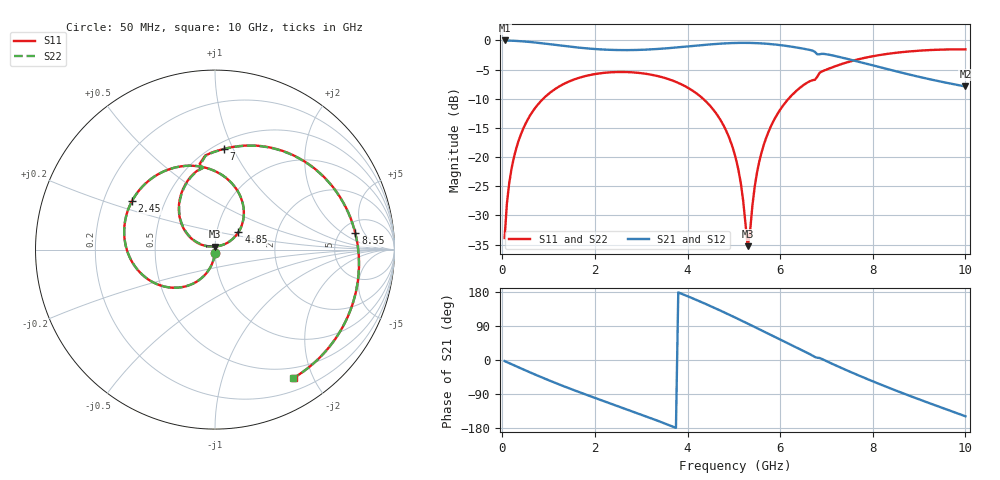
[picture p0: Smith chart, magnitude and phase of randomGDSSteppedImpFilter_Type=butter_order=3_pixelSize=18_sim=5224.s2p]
! freq	dB(S11)	phase(S11)	dB(S12)	phase(S12)
!  dB(S21)	phase(S21)	dB(S22)	phase(S22)
!S-par simulation data
#  GHz  S  DB  R 50
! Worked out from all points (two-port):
!   200 points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, 50 MHz to 10 GHz, reference 50 ohm
!   highest |S21| = -0.01 dB at 50 MHz (marker M1); lowest = -7.9 dB at 10 GHz (marker M2)
!   |S21| within 3 dB of the highest: start of sweep to 7.368 GHz
!   lowest |S11| = -35.3 dB at 5.3 GHz (marker M3), VSWR 1.04, Z = 50.1 + j1.73 ohm
!   |S11| at or under -10 dB: start of sweep to 883 MHz; 4.336 GHz to 6.182 GHz (1.846 GHz wide, 35.1 % of centre)
!   |S22| runs from -34.9 to -1.5 dB; largest |S21 - S12| = 0
!   S11 on the Smith chart (normalised r, x): 50 MHz: 1.00, -0.04; 2.45 GHz: 0.32, +0.24; 4.85 GHz: 1.27, +0.25; 7 GHz: 0.56, +0.92; 8.55 GHz: 6.81, +3.27; 10 GHz: 0.36, -1.73
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0.05  -33.86 -92.7  -0.01 -2.8  -0.01 -2.8  -33.86 -92.7
0.1  -27.89 -95.9  -0.02 -5.6  -0.02 -5.6  -27.89 -95.9
0.2  -21.97 -101.5  -0.05 -11.1  -0.05 -11.1  -21.97 -101.5
0.5  -14.31 -117.8  -0.20 -27.4  -0.20 -27.4  -14.31 -117.8
1.1  -8.55 -148.7  -0.72 -58.2  -0.72 -58.2  -8.55 -148.8
1.75  -6.20 -179.4  -1.31 -88.8  -1.31 -88.8  -6.20 -179.4
2.45  -5.42 149.8  -1.64 -119.8  -1.64 -119.8  -5.42 149.7
3.4  -6.20 107.5  -1.44 -162.4  -1.44 -162.4  -6.20 107.4
4.15  -8.83 71.5  -0.92 160.7  -0.92 160.7  -8.83 71.4
4.85  -15.75 36.7  -0.49 122.4  -0.49 122.4  -15.75 36.7
5.05  -20.46 29.4  -0.43 110.8  -0.43 110.8  -20.45 29.6
5.3  -35.26 86.1  -0.42 96.1  -0.42 96.1  -34.87 86.2
5.5  -22.66 160.1  -0.47 84.1  -0.47 84.1  -22.64 159.1
5.75  -15.63 152.4  -0.60 69.1  -0.60 69.1  -15.62 151.8
6.25  -9.41 125.6  -1.08 39.1  -1.08 39.1  -9.41 125.1
6.7  -6.82 100.9  -1.76 11.6  -1.76 11.6  -6.84 100.2
7  -5.00 85.2  -2.37 -3.0  -2.37 -3.0  -5.00 84.9
7.65  -3.31 50.3  -3.56 -38.4  -3.56 -38.4  -3.31 50.0
8.35  -2.27 16.0  -4.99 -73.5  -4.99 -73.5  -2.27 15.7
8.55  -2.08 6.6  -5.38 -83.0  -5.38 -83.0  -2.08 6.3
9.25  -1.65 -24.9  -6.69 -115.1  -6.69 -115.1  -1.65 -25.2
10  -1.53 -58.4  -7.90 -148.5  -7.90 -148.5  -1.53 -58.6
